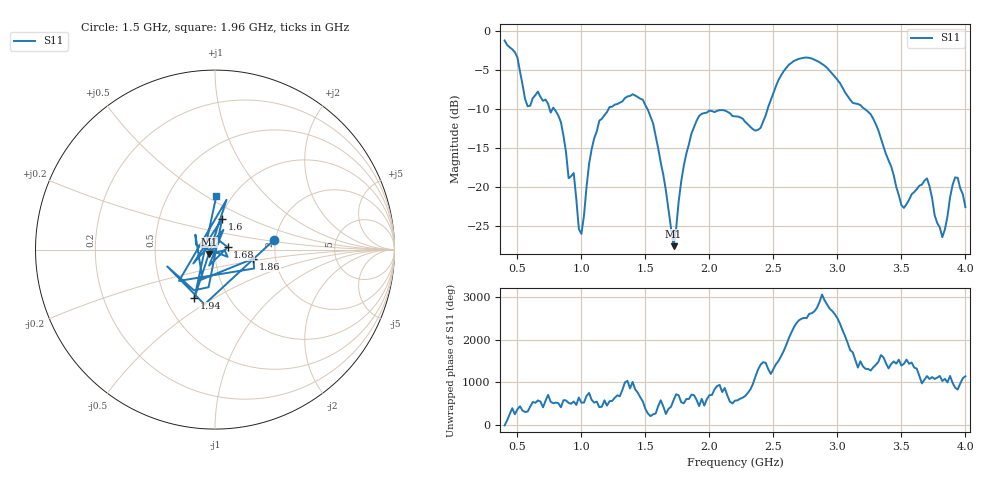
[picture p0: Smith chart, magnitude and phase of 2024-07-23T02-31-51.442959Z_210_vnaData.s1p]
!Created with skrf (http://scikit-rf.org).
# Hz S RI R 50.0
!freq ReS11 ImS11
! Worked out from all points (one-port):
!   181 points, 400 MHz to 4 GHz, reference 50 ohm
!   lowest |S11| = -27.6 dB at 1.72 GHz (marker M1), VSWR 1.09, Z = 46.6 - j2.27 ohm
!   |S11| at or under -10 dB: 786.8 MHz to 1.213 GHz (426 MHz wide, 42.6 % of centre); 1.515 GHz to 2.455 GHz (940.2 MHz wide, 47.4 % of centre); 3.211 GHz to end of sweep (the widest 3 of 4)
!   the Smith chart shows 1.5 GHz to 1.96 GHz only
!   S11 on the Smith chart (normalised r, x): 1.5 GHz: 1.96, +0.24; 1.6 GHz: 1.02, +0.36; 1.68 GHz: 1.15, +0.03; 1.86 GHz: 1.54, -0.16; 1.94 GHz: 0.69, -0.41; 1.96 GHz: 0.85, +0.55
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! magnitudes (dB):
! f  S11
! 400 MHz  -1.3
! 500 MHz  -3.4
! 580 MHz  -9.7
! 660 MHz  -7.8
! 860 MHz  -13.5
! 1 GHz  -26.0
! 1.06 GHz  -17.1
! 1.14 GHz  -11.5
! 1.3 GHz  -9.2
! 1.5 GHz  -9.5
! 1.6 GHz  -15.1
! 1.68 GHz  -22.9
! 1.72 GHz  -27.6
! 1.76 GHz  -21.8
! 1.86 GHz  -13.1
! 1.94 GHz  -10.6
! 1.96 GHz  -10.5
! 2.2 GHz  -11.0
! 2.4 GHz  -12.4
! 2.66 GHz  -3.9
! 3.1 GHz  -8.8
! 3.26 GHz  -10.7
! 3.5 GHz  -22.3
! 3.56 GHz  -21.6
! 3.7 GHz  -18.9
! 3.82 GHz  -26.4
! 3.92 GHz  -18.8
! 4 GHz  -22.6
